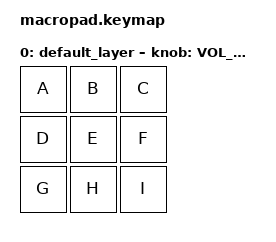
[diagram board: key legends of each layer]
/*
 * Copyright (c) 2021 Nick Winans
 *
 * SPDX-License-Identifier: MIT
 */

#include <behaviors.dtsi>
#include <dt-bindings/zmk/keys.h>
#include <dt-bindings/zmk/rgb.h>
#include <dt-bindings/zmk/bt.h>

/ {
    keymap {
        compatible = "zmk,keymap";

        default_layer {
            bindings = <
                &kp A &kp B &kp C
                &kp D &kp E &kp F
                &kp G &kp H &kp I
            >;

            sensor-bindings = <&inc_dec_kp C_VOL_UP C_VOL_DN>;
        };
    };
};
